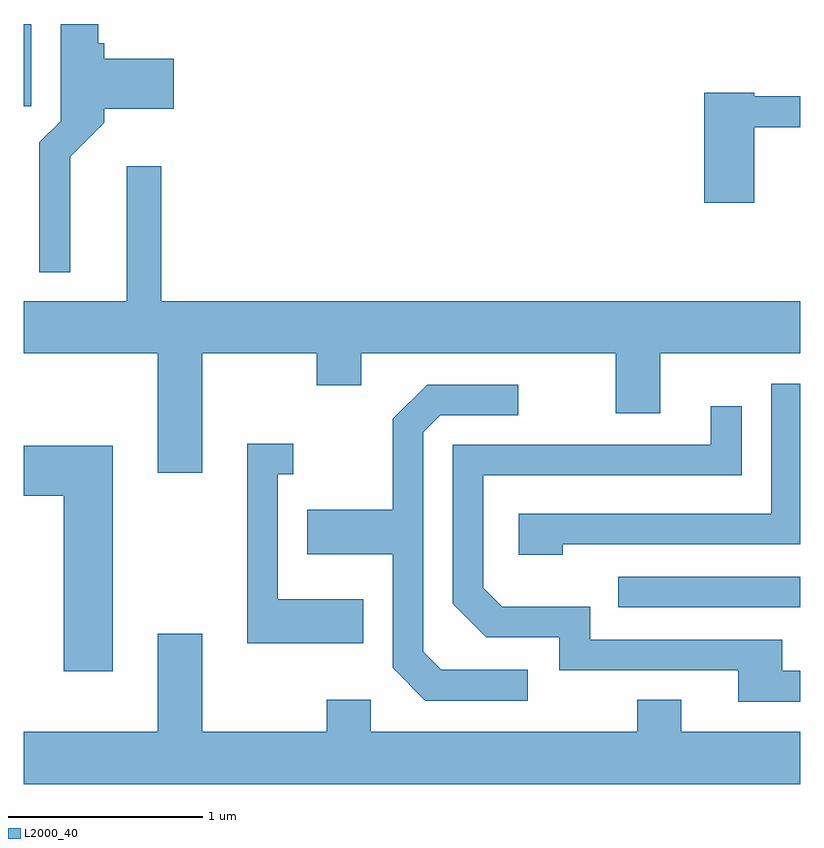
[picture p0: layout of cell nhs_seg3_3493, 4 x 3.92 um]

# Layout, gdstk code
import gdstk
lib = gdstk.Library(unit=1e-6, precision=1e-09)
def R(c, l, rs):  # rectangles x0, y0, x1, y1
    for r in rs: c.add(gdstk.rectangle(r[:2], r[2:], *l))
def P(c, l, *ps):  # polygons
    for p in ps: c.add(gdstk.Polygon(p, *l))
L2000_40 = (2000, 40)

nhs_seg3_3493 = lib.new_cell('nhs_seg3_3493')
R(nhs_seg3_3493, L2000_40, [(290.673,1166.886,291.611,1167.044), (287.611,1169.468,287.649,1169.892)])
P(nhs_seg3_3493, L2000_40, [(287.849,1169.209),(288.024,1169.384),(288.024,1169.456),(288.384,1169.456),(288.384,1169.714),(288.024,1169.714),(288.024,1169.794),(287.994,1169.794),(287.994,1169.892),(287.801,1169.892),(287.801,1169.392),(287.691,1169.282),(287.691,1168.613),(287.849,1168.613)],
  [(291.374,1169.361),(291.611,1169.361),(291.611,1169.519),(291.374,1169.519),(291.374,1169.539),(291.116,1169.539),(291.116,1168.971),(291.374,1168.971)],
  [(288.529,1168.196),(289.121,1168.196),(289.121,1168.031),(289.349,1168.031),(289.349,1168.196),(290.661,1168.196),(290.661,1167.886),(290.889,1167.886),(290.889,1168.196),(291.611,1168.196),(291.611,1168.464),(288.319,1168.464),(288.319,1169.159),(288.141,1169.159),(288.141,1168.464),(287.611,1168.464),(287.611,1168.196),(288.301,1168.196),(288.301,1167.581),(288.529,1167.581)],
  [(290.389,1167.211),(291.611,1167.211),(291.611,1168.039),(291.461,1168.039),(291.461,1167.369),(290.161,1167.369),(290.161,1167.156),(290.389,1167.156)],
  [(290.208,1166.564),(289.762,1166.564),(289.669,1166.657),(289.669,1167.789),(289.757,1167.876),(290.158,1167.876),(290.158,1168.034),(289.689,1168.034),(289.511,1167.857),(289.511,1167.389),(289.071,1167.389),(289.071,1167.161),(289.511,1167.161),(289.511,1166.574),(289.679,1166.406),(290.208,1166.406)],
  [(291.611,1166.559),(291.519,1166.559),(291.519,1166.719),(290.529,1166.719),(290.529,1166.889),(290.077,1166.889),(289.979,1166.987),(289.979,1167.566),(291.309,1167.566),(291.309,1167.923),(291.151,1167.923),(291.151,1167.724),(289.821,1167.724),(289.821,1166.904),(289.994,1166.731),(290.371,1166.731),(290.371,1166.561),(291.291,1166.561),(291.291,1166.401),(291.611,1166.401)],
  [(289.359,1166.929),(288.919,1166.929),(288.919,1167.571),(288.998,1167.571),(288.998,1167.729),(288.761,1167.729),(288.761,1166.701),(289.359,1166.701)],
  [(288.069,1167.719),(287.611,1167.719),(287.611,1167.461),(287.816,1167.461),(287.816,1166.556),(288.069,1166.556)],
  [(291.611,1166.244),(290.999,1166.244),(290.999,1166.409),(290.771,1166.409),(290.771,1166.244),(289.399,1166.244),(289.399,1166.409),(289.171,1166.409),(289.171,1166.244),(288.529,1166.244),(288.529,1166.749),(288.301,1166.749),(288.301,1166.244),(287.611,1166.244),(287.611,1165.976),(291.611,1165.976)])

lib.write_gds('nhs_seg3_3493.gds')
